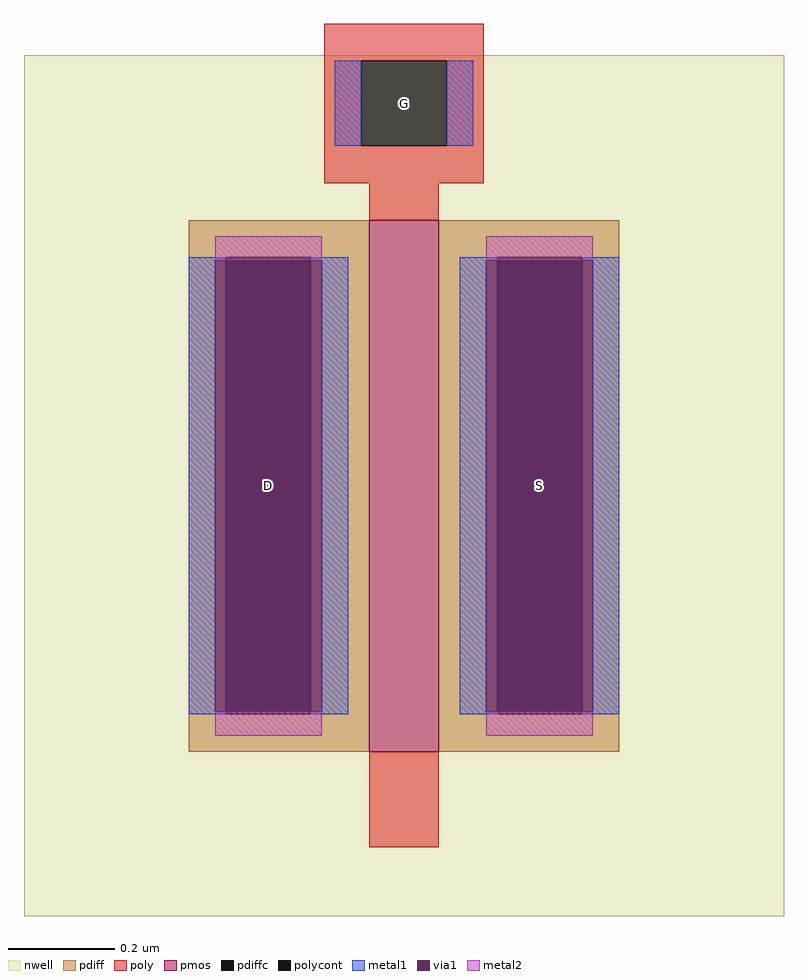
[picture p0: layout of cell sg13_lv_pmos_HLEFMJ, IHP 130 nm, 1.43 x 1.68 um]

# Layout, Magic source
magic
tech ihp-sg13g2
magscale 1 2
<< nwell >>
rect -143 -181 143 143
<< pmos >>
rect -13 -119 13 81
<< pdiff >>
rect -81 67 -13 81
rect -81 -105 -67 67
rect -35 -105 -13 67
rect -81 -119 -13 -105
rect 13 67 81 81
rect 13 -105 35 67
rect 67 -105 81 67
rect 13 -119 81 -105
<< pdiffc >>
rect -67 -105 -35 67
rect 35 -105 67 67
<< poly >>
rect -30 141 30 155
rect -30 109 -16 141
rect 16 109 30 141
rect -30 95 30 109
rect -13 81 13 95
rect -13 -155 13 -119
<< polycont >>
rect -16 109 16 141
<< metal1 >>
rect -26 109 -16 141
rect 16 109 26 141
rect -81 66 -67 67
rect -35 66 -21 67
rect -81 -104 -71 66
rect -31 -104 -21 66
rect -81 -105 -67 -104
rect -35 -105 -21 -104
rect 21 66 35 67
rect 67 66 81 67
rect 21 -104 31 66
rect 71 -104 81 66
rect 21 -105 35 -104
rect 67 -105 81 -104
<< via1 >>
rect -71 -104 -67 66
rect -67 -104 -35 66
rect -35 -104 -31 66
rect 31 -104 35 66
rect 35 -104 67 66
rect 67 -104 71 66
<< metal2 >>
rect -71 66 -31 75
rect -71 -113 -31 -104
rect 31 66 71 75
rect 31 -113 71 -104
<< labels >>
rlabel pdiffc -51 -19 -51 -19 0 D
port 1 nsew
rlabel pdiffc 51 -19 51 -19 0 S
port 2 nsew
rlabel polycont 0 125 0 125 0 G
port 3 nsew
<< properties >>
string gencell sg13_lv_pmos
string library sg13g2
string parameters w 1 l 0.13 m 1 nf 1 diffcov 100 polycov 100 guard 0 glc 1 grc 1 gtc 1 gbc 1 tbcov 100 rlcov 100 topc 1 botc 0 poverlap 0 doverlap 1 lmin 0.13 wmin 0.15 class mosfet compatible {sg13_lv_pmos sg13_hv_pmos} full_metal 1 conn_gates 0 gate_ring 0 ccols 1 viasrc 100 viadrn 100 viagate 0 viagb 0 viagr 0 viagl 0 viagt 0 doports 1
<< end >>
